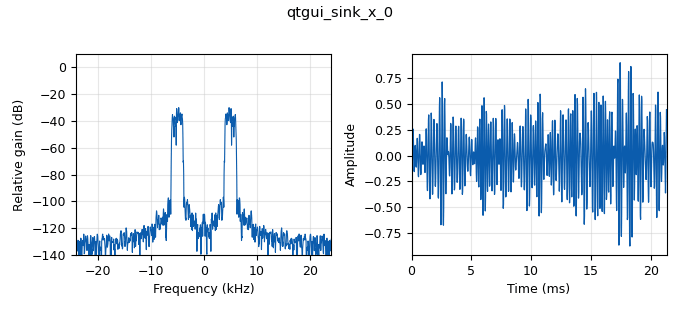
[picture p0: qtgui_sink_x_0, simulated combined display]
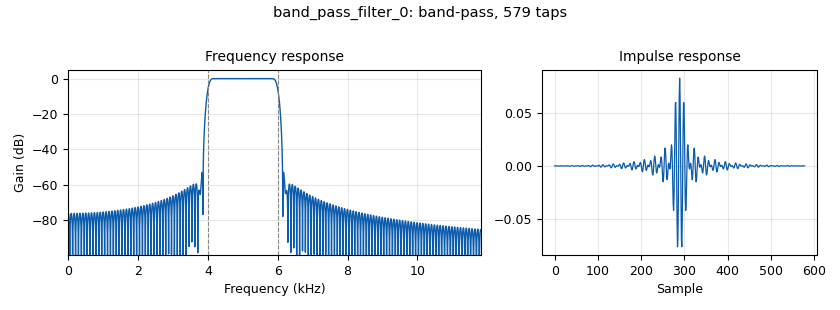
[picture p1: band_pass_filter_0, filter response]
options:
  parameters:
    generate_options: qt_gui
    id: top_block
    output_language: python
  states: {}

blocks:
- name: high_freq
  id: variable_qtgui_range
  parameters:
    orient: Qt.Horizontal
    start: 4e3
    step: '1'
    stop: 6e3
    value: 6e3
  states: {}
- name: low_freq
  id: variable_qtgui_range
  parameters:
    orient: Qt.Horizontal
    start: 4e3
    step: '1'
    stop: 6e3
    value: 4e3
  states: {}
- name: samp_rate
  id: variable
  parameters:
    value: '48000'
  states: {}
- name: analog_noise_source_x_0
  id: analog_noise_source_x
  parameters:
    amp: '1'
    noise_type: analog.GR_GAUSSIAN
    seed: '0'
    type: float
  states: {}
- name: audio_sink_0
  id: audio_sink
  parameters:
    samp_rate: samp_rate
  states: {}
- name: band_pass_filter_0
  id: band_pass_filter
  parameters:
    decim: '1'
    gain: '1'
    high_cutoff_freq: high_freq
    low_cutoff_freq: low_freq
    samp_rate: samp_rate
    type: fir_filter_fff
    width: '200'
    win: firdes.WIN_HAMMING
  states: {}
- name: qtgui_sink_x_0
  id: qtgui_sink_x
  parameters:
    bw: samp_rate
    fc: '0'
    fftsize: '1024'
    showports: 'True'
    type: float
    wintype: firdes.WIN_BLACKMAN_hARRIS
  states: {}

connections:
- [analog_noise_source_x_0, '0', band_pass_filter_0, '0']
- [band_pass_filter_0, '0', audio_sink_0, '0']
- [band_pass_filter_0, '0', qtgui_sink_x_0, '0']

metadata:
  file_format: 1
